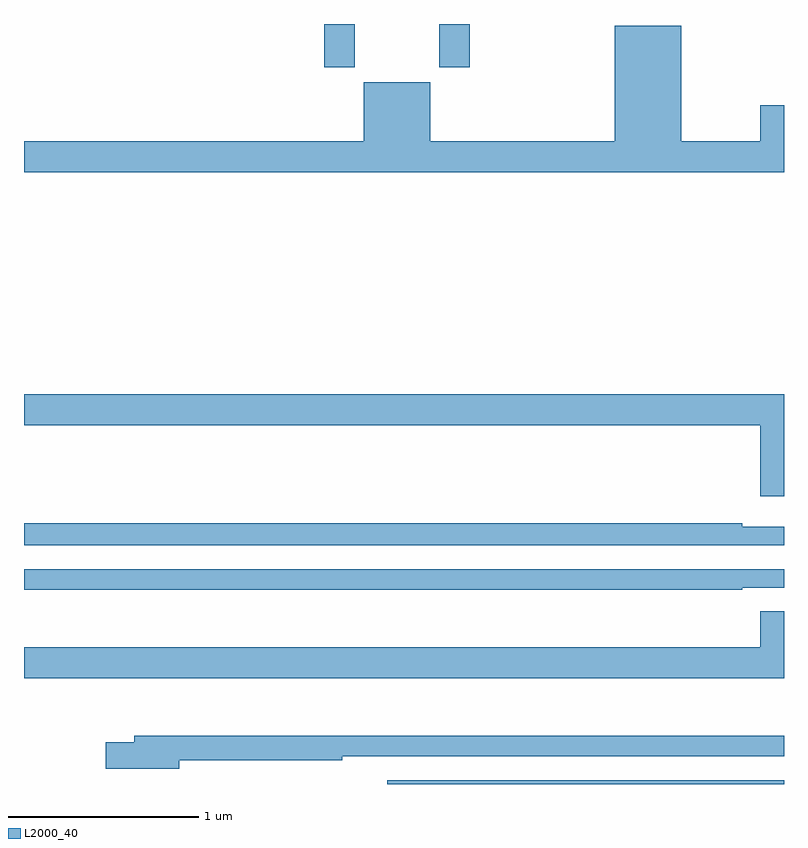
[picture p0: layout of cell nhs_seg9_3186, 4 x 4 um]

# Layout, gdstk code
import gdstk
lib = gdstk.Library(unit=1e-6, precision=1e-09)
def R(c, l, rs):  # rectangles x0, y0, x1, y1
    for r in rs: c.add(gdstk.rectangle(r[:2], r[2:], *l))
def P(c, l, *ps):  # polygons
    for p in ps: c.add(gdstk.Polygon(p, *l))
L2000_40 = (2000, 40)

nhs_seg9_3186 = lib.new_cell('nhs_seg9_3186')
R(nhs_seg9_3186, L2000_40, [(294.911,1226.5,297,1226.52), (294.581,1230.273,294.741,1230.5), (295.186,1230.273,295.346,1230.5)])
P(nhs_seg9_3186, L2000_40, [(297,1230.073),(296.876,1230.073),(296.876,1229.884),(296.458,1229.884),(296.458,1230.49),(296.108,1230.49),(296.108,1229.884),(295.138,1229.884),(295.138,1230.193),(294.788,1230.193),(294.788,1229.884),(293,1229.884),(293,1229.72),(297,1229.72)],
  [(297,1228.552),(293,1228.552),(293,1228.388),(296.876,1228.388),(296.876,1228.014),(297,1228.014)],
  [(297,1227.853),(296.78,1227.853),(296.78,1227.872),(293,1227.872),(293,1227.756),(297,1227.756)],
  [(296.78,1227.534),(297,1227.534),(297,1227.63),(293,1227.63),(293,1227.522),(296.78,1227.522)],
  [(297,1227.409),(296.876,1227.409),(296.876,1227.22),(293,1227.22),(293,1227.056),(297,1227.056)],
  [(293.818,1226.626),(294.674,1226.626),(294.674,1226.646),(297,1226.646),(297,1226.755),(293.579,1226.755),(293.579,1226.721),(293.43,1226.721),(293.43,1226.579),(293.818,1226.579)])

lib.write_gds('nhs_seg9_3186.gds')
